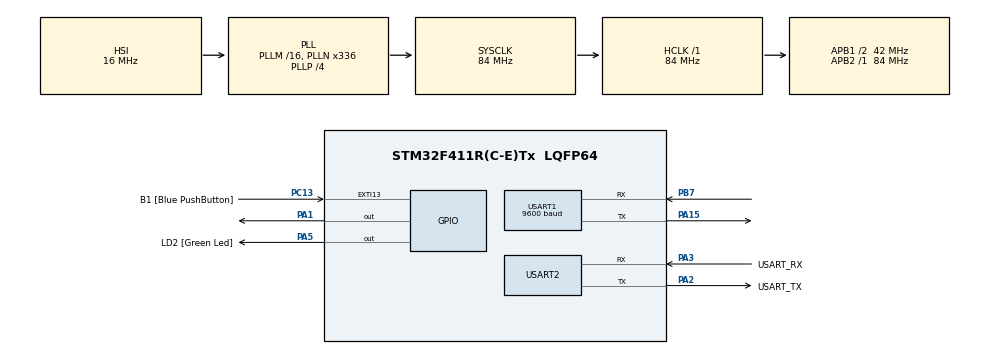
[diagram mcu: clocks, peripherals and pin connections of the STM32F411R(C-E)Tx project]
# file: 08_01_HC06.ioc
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Mcu.Family=STM32F4
Mcu.Name=STM32F411R(C-E)Tx
Mcu.Package=LQFP64
NVIC.PriorityGroup=NVIC_PRIORITYGROUP_0
NVIC.USART1_IRQn=true\:0\:0\:false\:false\:true\:true\:true\:true
NVIC.USART2_IRQn=true\:0\:0\:false\:false\:true\:true\:true\:true
PA1.PinState=GPIO_PIN_RESET
PA1.Signal=GPIO_Output
PA13.GPIO_Label=TMS
PA13.Mode=Serial_Wire
PA13.Signal=SYS_JTMS-SWDIO
PA14.GPIO_Label=TCK
PA14.Mode=Serial_Wire
PA14.Signal=SYS_JTCK-SWCLK
PA15.Mode=Asynchronous
PA15.Signal=USART1_TX
PA2.GPIO_Label=USART_TX
PA2.Mode=Asynchronous
PA2.Signal=USART2_TX
PA3.GPIO_Label=USART_RX
PA3.Mode=Asynchronous
PA3.Signal=USART2_RX
PA5.GPIO_Label=LD2 [Green Led]
PA5.Signal=GPIO_Output
PB3.GPIO_Label=SWO
PB3.Signal=SYS_JTDO-SWO
PB7.Mode=Asynchronous
PB7.Signal=USART1_RX
PC13-ANTI_TAMP.GPIO_Label=B1 [Blue PushButton]
PC13-ANTI_TAMP.GPIO_ModeDefaultEXTI=GPIO_MODE_IT_FALLING
PC13-ANTI_TAMP.Signal=GPXTI13
PC14-OSC32_IN.Mode=LSE-External-Oscillator
PC14-OSC32_IN.Signal=RCC_OSC32_IN
PC15-OSC32_OUT.Mode=LSE-External-Oscillator
PC15-OSC32_OUT.Signal=RCC_OSC32_OUT
PH0\ -\ OSC_IN.Mode=HSE-External-Clock-Source
PH0\ -\ OSC_IN.Signal=RCC_OSC_IN
PH1\ -\ OSC_OUT.Mode=HSE-External-Clock-Source
PH1\ -\ OSC_OUT.Signal=RCC_OSC_OUT
ProjectManager.HeapSize=0x200
ProjectManager.StackSize=0x400
ProjectManager.TargetToolchain=STM32CubeIDE
RCC.48MHZClocksFreq_Value=84000000
RCC.AHBFreq_Value=84000000
RCC.APB1CLKDivider=RCC_HCLK_DIV2
RCC.APB1Freq_Value=42000000
RCC.APB1TimFreq_Value=84000000
RCC.APB2Freq_Value=84000000
RCC.APB2TimFreq_Value=84000000
RCC.CortexFreq_Value=84000000
RCC.FLatency-AdvancedSettings=FLASH_LATENCY_2
RCC.HCLKFreq_Value=84000000
RCC.HSE_VALUE=8000000
RCC.HSI_VALUE=16000000
RCC.PLLN=336
RCC.PLLP=RCC_PLLP_DIV4
RCC.SYSCLKFreq_VALUE=84000000
RCC.SYSCLKSource=RCC_SYSCLKSOURCE_PLLCLK
RCC.VCOOutputFreq_Value=336000000
USART1.BaudRate=9600
USART1.VirtualMode=VM_ASYNC
USART2.VirtualMode=VM_ASYNC
board=NUCLEO-F411RE

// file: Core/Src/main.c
/* USER CODE BEGIN Header */
/**
  ******************************************************************************
  * @file           : main.c
  * @brief          : Main program body
  ******************************************************************************
  * @attention
  *
  * Copyright (c) 2024 STMicroelectronics.
  * All rights reserved.
  *
  * This software is licensed under terms that can be found in the LICENSE file
  * in the root directory of this software component.
  * If no LICENSE file comes with this software, it is provided AS-IS.
  *
  ******************************************************************************
  */
/* USER CODE END Header */
#include "main.h"

/* USER CODE BEGIN Includes */
#include <stdio.h>

/* USER CODE END Includes */

UART_HandleTypeDef huart1;
UART_HandleTypeDef huart2;

/* USER CODE BEGIN PV */
uint8_t rx1_data;
uint8_t rx2_data;

/* USER CODE END PV */

void SystemClock_Config(void);
static void MX_GPIO_Init(void);
static void MX_USART2_UART_Init(void);
static void MX_USART1_UART_Init(void);

/* USER CODE BEGIN 0 */
void send_data_via_bluetooth(void)
{
	char buffer[50];
	int len = snprintf(buffer, sizeof(buffer), "블루투스 통신 테스트\r\n");
	HAL_UART_Transmit(&huart1, (uint8_t *)buffer, len, HAL_MAX_DELAY);
}

/* USER CODE END 0 */

int main(void)
{

  /* MCU Configuration--------------------------------------------------------*/

  /* Reset of all peripherals, Initializes the Flash interface and the Systick. */
  HAL_Init();

  /* Configure the system clock */
  SystemClock_Config();

  /* Initialize all configured peripherals */
  MX_GPIO_Init();
  MX_USART2_UART_Init();
  MX_USART1_UART_Init();
  /* USER CODE BEGIN 2 */
  HAL_UART_Receive_IT(&huart1, &rx1_data, sizeof(rx1_data));
  HAL_UART_Receive_IT(&huart2, &rx2_data, sizeof(rx2_data));

  /* USER CODE END 2 */

  /* Infinite loop */
  while (1)
  {

    /* USER CODE BEGIN 3 */
	  send_data_via_bluetooth();
	  HAL_Delay(1000);
  }
  /* USER CODE END 3 */
}

void SystemClock_Config(void)
{
  RCC_OscInitTypeDef RCC_OscInitStruct = {0};
  RCC_ClkInitTypeDef RCC_ClkInitStruct = {0};

  /** Configure the main internal regulator output voltage
  */
  __HAL_RCC_PWR_CLK_ENABLE();
  __HAL_PWR_VOLTAGESCALING_CONFIG(PWR_REGULATOR_VOLTAGE_SCALE1);

  /** Initializes the RCC Oscillators according to the specified parameters
  * in the RCC_OscInitTypeDef structure.
  */
  RCC_OscInitStruct.OscillatorType = RCC_OSCILLATORTYPE_HSI;
  RCC_OscInitStruct.HSIState = RCC_HSI_ON;
  RCC_OscInitStruct.HSICalibrationValue = RCC_HSICALIBRATION_DEFAULT;
  RCC_OscInitStruct.PLL.PLLState = RCC_PLL_ON;
  RCC_OscInitStruct.PLL.PLLSource = RCC_PLLSOURCE_HSI;
  RCC_OscInitStruct.PLL.PLLM = 16;
  RCC_OscInitStruct.PLL.PLLN = 336;
  RCC_OscInitStruct.PLL.PLLP = RCC_PLLP_DIV4;
  RCC_OscInitStruct.PLL.PLLQ = 4;
  if (HAL_RCC_OscConfig(&RCC_OscInitStruct) != HAL_OK)
  {
    Error_Handler();
  }

  /** Initializes the CPU, AHB and APB buses clocks
  */
  RCC_ClkInitStruct.ClockType = RCC_CLOCKTYPE_HCLK|RCC_CLOCKTYPE_SYSCLK
                              |RCC_CLOCKTYPE_PCLK1|RCC_CLOCKTYPE_PCLK2;
  RCC_ClkInitStruct.SYSCLKSource = RCC_SYSCLKSOURCE_PLLCLK;
  RCC_ClkInitStruct.AHBCLKDivider = RCC_SYSCLK_DIV1;
  RCC_ClkInitStruct.APB1CLKDivider = RCC_HCLK_DIV2;
  RCC_ClkInitStruct.APB2CLKDivider = RCC_HCLK_DIV1;

  if (HAL_RCC_ClockConfig(&RCC_ClkInitStruct, FLASH_LATENCY_2) != HAL_OK)
  {
    Error_Handler();
  }
}

static void MX_USART1_UART_Init(void)
{

  huart1.Instance = USART1;
  huart1.Init.BaudRate = 9600;
  huart1.Init.WordLength = UART_WORDLENGTH_8B;
  huart1.Init.StopBits = UART_STOPBITS_1;
  huart1.Init.Parity = UART_PARITY_NONE;
  huart1.Init.Mode = UART_MODE_TX_RX;
  huart1.Init.HwFlowCtl = UART_HWCONTROL_NONE;
  huart1.Init.OverSampling = UART_OVERSAMPLING_16;
  if (HAL_UART_Init(&huart1) != HAL_OK)
  {
    Error_Handler();
  }

}

static void MX_USART2_UART_Init(void)
{

  huart2.Instance = USART2;
  huart2.Init.BaudRate = 115200;
  huart2.Init.WordLength = UART_WORDLENGTH_8B;
  huart2.Init.StopBits = UART_STOPBITS_1;
  huart2.Init.Parity = UART_PARITY_NONE;
  huart2.Init.Mode = UART_MODE_TX_RX;
  huart2.Init.HwFlowCtl = UART_HWCONTROL_NONE;
  huart2.Init.OverSampling = UART_OVERSAMPLING_16;
  if (HAL_UART_Init(&huart2) != HAL_OK)
  {
    Error_Handler();
  }

}

static void MX_GPIO_Init(void)
{
  GPIO_InitTypeDef GPIO_InitStruct = {0};

  /* GPIO Ports Clock Enable */
  __HAL_RCC_GPIOC_CLK_ENABLE();
  __HAL_RCC_GPIOH_CLK_ENABLE();
  __HAL_RCC_GPIOA_CLK_ENABLE();
  __HAL_RCC_GPIOB_CLK_ENABLE();

  /*Configure GPIO pin Output Level */
  HAL_GPIO_WritePin(GPIOA, GPIO_PIN_1|LD2_Pin, GPIO_PIN_RESET);

  /*Configure GPIO pin : B1_Pin */
  GPIO_InitStruct.Pin = B1_Pin;
  GPIO_InitStruct.Mode = GPIO_MODE_IT_FALLING;
  GPIO_InitStruct.Pull = GPIO_NOPULL;
  HAL_GPIO_Init(B1_GPIO_Port, &GPIO_InitStruct);

  /*Configure GPIO pins : PA1 LD2_Pin */
  GPIO_InitStruct.Pin = GPIO_PIN_1|LD2_Pin;
  GPIO_InitStruct.Mode = GPIO_MODE_OUTPUT_PP;
  GPIO_InitStruct.Pull = GPIO_NOPULL;
  GPIO_InitStruct.Speed = GPIO_SPEED_FREQ_LOW;
  HAL_GPIO_Init(GPIOA, &GPIO_InitStruct);

}

/* USER CODE BEGIN 4 */
void HAL_UART_RxCpltCallback(UART_HandleTypeDef *huart)
{
	if(huart->Instance == USART2)
	{
		HAL_UART_Transmit(&huart1, &rx2_data, sizeof(rx2_data), 10);
		HAL_UART_Receive_IT(&huart2, &rx2_data, sizeof(rx2_data));
	}
	else if(huart->Instance == USART1)
	{
		HAL_UART_Transmit(&huart2, &rx1_data, sizeof(rx1_data), 10);
		HAL_UART_Receive_IT(&huart1, &rx1_data, sizeof(rx1_data));
	}
}

/* USER CODE END 4 */

void Error_Handler(void)
{
  __disable_irq();
  while (1)
  {
  }
}
